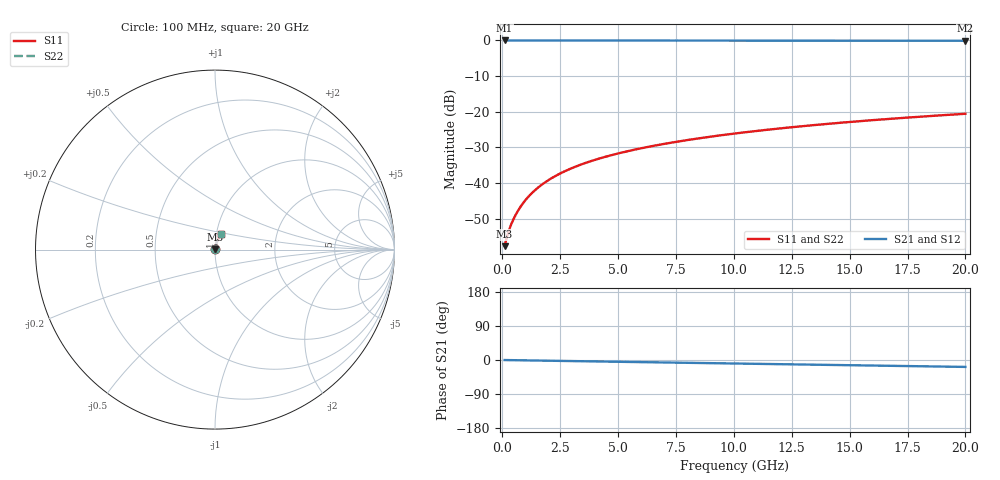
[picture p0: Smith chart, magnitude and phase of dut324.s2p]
! Touchstone file exported from HFSS 2026.1.0
!  File:  C:/ffzhzh/LocalFiles/Ansys_Project_Files/temp_train_BSMRDL_324_1783010883_51716.aedt
!  Generated:  12:49:21 AM Jul  3, 2026
!  Design:  BSMRDL
!  Project:  temp_train_BSMRDL_324_1783010883_51716
! Variables:
!  h_bsmrdl = 5.53um
!  h_ox = 20um
!  h_rdl = 5um
!  h_sub = 80um
!  h_tmrdl = 5um
!  h_tsv = 80um
!  h_via = 3um
!  l_bsmrdl = 299.16um
!  l_sub = 699.16um
!  l_tmrdl = 200um
!  m_sub = 200um
!  pitch = 31.09um
!  r_tsv = 6um
!  s_tmrdl = 10um
!  w_bsmrdl = 20.25um
!  w_sub = 500um
!  w_tmrdl = 12um
!  x_tsv_center1 = 206um
!  x_tsv_center2 = 525.41um
!  x_tsv_center3 = 737.41um
!  x_tsv_center4 = 1056.82um
!  x_tsv_center5 = 1268.82um
!  x_tsv_center6 = 1588.23um
# GHz S MA R 50.000000
! Terminal data exported
! Port[1] = BSM_RDL1_1_T1
! Port[2] = BSM_RDL1_1_T2
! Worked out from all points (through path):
!   200 points, 100 MHz to 20 GHz, reference 50 ohm
!   highest |S21| = -0.01 dB at 100 MHz (marker M1); lowest = -0.1 dB at 20 GHz (marker M2)
!   group delay of S21, straight-line fit = 2.53 ps
!   lowest |S11| = -57.7 dB at 100 MHz (marker M3), VSWR 1.00, Z = 50.1 + j0.0692 ohm
!   |S11| at or under -10 dB: start of sweep to end of sweep
!   |S22| runs from -57.7 to -20.6 dB; largest |S21 - S12| = 2.8e-15
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0.1  0.00131 31.8  0.9989 -0.1  0.9989 -0.1  0.00131 31.8
! Gamma 0 0 0 0
! Port Impedance 50 0 50 0
0.2  0.001775 46.4  0.9988 -0.2  0.9988 -0.2  0.001775 46.4
0.3  0.002246 54.4  0.9987 -0.3  0.9987 -0.3  0.002246 54.4
0.4  0.002723 59.9  0.9986 -0.4  0.9986 -0.4  0.002723 59.9
0.5  0.003213 63.9  0.9986 -0.5  0.9986 -0.5  0.003213 63.9
0.6  0.003713 66.9  0.9985 -0.6  0.9985 -0.6  0.003714 66.9
0.8  0.004741 71.1  0.9985 -0.8  0.9985 -0.8  0.004741 71.1
1  0.00579 73.7  0.9984 -1.0  0.9984 -1.0  0.00579 73.7
1.2  0.006848 75.3  0.9984 -1.2  0.9984 -1.2  0.006848 75.3
1.4  0.007908 76.5  0.9983 -1.3  0.9983 -1.3  0.007908 76.5
1.7  0.009496 77.5  0.9981 -1.6  0.9981 -1.6  0.009496 77.5
2.2  0.01212 78.4  0.9979 -2.1  0.9979 -2.1  0.01212 78.4
2.8  0.01521 78.7  0.9976 -2.7  0.9976 -2.7  0.01521 78.7
3.5  0.01874 78.6  0.9972 -3.3  0.9972 -3.3  0.01874 78.6
4.2  0.02219 78.3  0.9968 -4.0  0.9968 -4.0  0.0222 78.3
5  0.02607 78.0  0.9963 -4.7  0.9963 -4.7  0.02607 78.0
6.8  0.03461 77.0  0.9954 -6.3  0.9954 -6.3  0.03461 77.0
8.3  0.0416 76.1  0.9946 -7.7  0.9946 -7.7  0.0416 76.1
10.1  0.04989 74.9  0.9938 -9.3  0.9938 -9.3  0.04989 74.9
13.4  0.06485 72.6  0.9921 -12.3  0.9921 -12.3  0.06485 72.5
16.7  0.07949 70.0  0.9903 -15.3  0.9903 -15.3  0.0795 70.0
20  0.0938 67.4  0.9885 -18.3  0.9885 -18.3  0.0938 67.4
